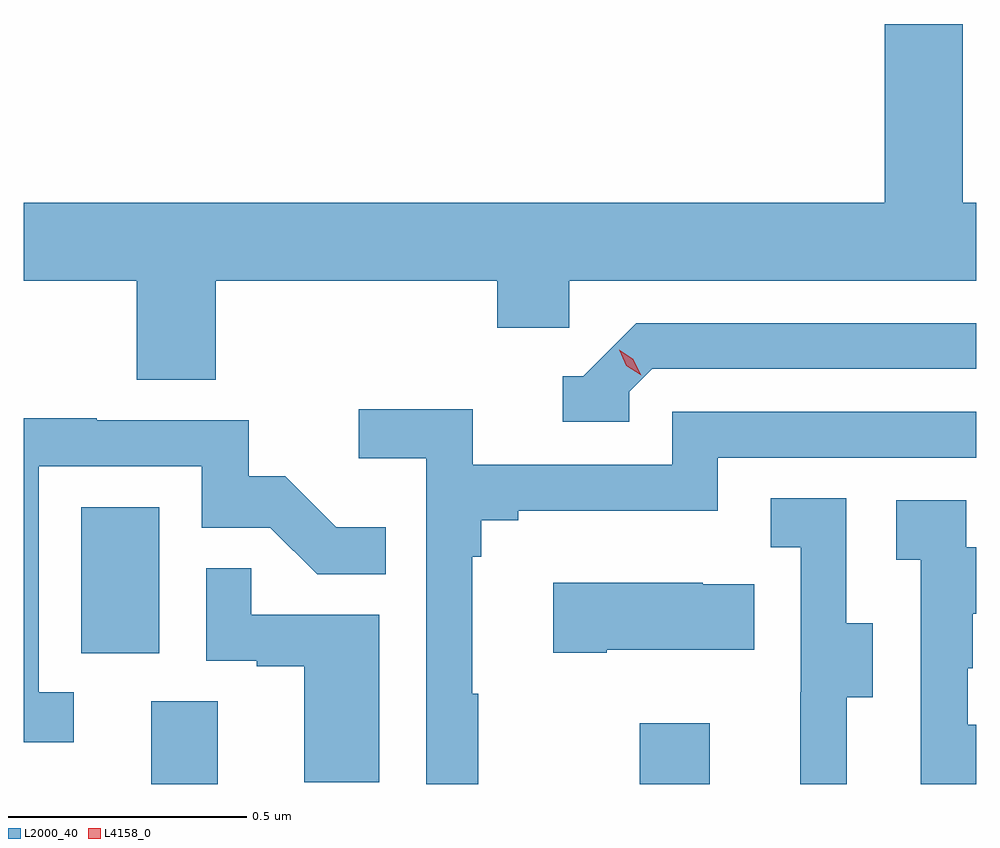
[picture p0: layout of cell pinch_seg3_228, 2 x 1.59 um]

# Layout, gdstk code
import gdstk
lib = gdstk.Library(unit=1e-6, precision=1e-09)
def R(c, l, rs):  # rectangles x0, y0, x1, y1
    for r in rs: c.add(gdstk.rectangle(r[:2], r[2:], *l))
def P(c, l, *ps):  # polygons
    for p in ps: c.add(gdstk.Polygon(p, *l))
L2000_40 = (2000, 40)
L4158_0 = (4158, 0)

pinch_seg3_228 = lib.new_cell('pinch_seg3_228')
R(pinch_seg3_228, L2000_40, [(930.701,729.164,930.841,729.338), (931.726,729.164,931.873,729.292), (930.554,729.438,930.718,729.745)])
P(pinch_seg3_228, L2000_40, [(930.433,730.22),(930.671,730.22),(930.671,730.012),(930.836,730.012),(930.836,730.22),(931.427,730.22),(931.427,730.122),(931.578,730.122),(931.578,730.22),(932.433,730.22),(932.433,730.384),(932.404,730.384),(932.404,730.759),(932.24,730.759),(932.24,730.384),(930.433,730.384)],
  [(931.704,729.987),(931.752,730.035),(932.433,730.035),(932.433,730.131),(931.719,730.131),(931.608,730.02),(931.565,730.02),(931.565,729.924),(931.704,729.924)],
  [(931.387,729.353),(931.375,729.353),(931.375,729.641),(931.394,729.641),(931.394,729.718),(931.471,729.718),(931.471,729.737),(931.89,729.737),(931.89,729.849),(932.433,729.849),(932.433,729.945),(931.794,729.945),(931.794,729.834),(931.376,729.834),(931.376,729.95),(931.137,729.95),(931.137,729.848),(931.278,729.848),(931.278,729.164),(931.387,729.164)],
  [(930.538,729.357),(930.465,729.357),(930.465,729.831),(930.807,729.831),(930.807,729.702),(930.951,729.702),(931.049,729.604),(931.193,729.604),(931.193,729.703),(931.089,729.703),(930.982,729.81),(930.906,729.81),(930.906,729.927),(930.587,729.927),(930.587,729.932),(930.433,729.932),(930.433,729.252),(930.538,729.252)],
  [(932.161,729.346),(932.215,729.346),(932.215,729.501),(932.16,729.501),(932.16,729.764),(932.001,729.764),(932.001,729.661),(932.064,729.661),(932.064,729.357),(932.063,729.357),(932.063,729.164),(932.161,729.164)],
  [(932.433,729.288),(932.415,729.288),(932.415,729.407),(932.425,729.407),(932.425,729.521),(932.433,729.521),(932.433,729.661),(932.412,729.661),(932.412,729.759),(932.265,729.759),(932.265,729.635),(932.316,729.635),(932.316,729.164),(932.433,729.164)],
  [(931.18,729.519),(930.911,729.519),(930.911,729.617),(930.816,729.617),(930.816,729.423),(930.923,729.423),(930.923,729.411),(931.022,729.411),(931.022,729.168),(931.18,729.168)],
  [(931.657,729.446),(931.967,729.446),(931.967,729.583),(931.859,729.583),(931.859,729.586),(931.545,729.586),(931.545,729.439),(931.657,729.439)])
P(pinch_seg3_228, L4158_0, [(931.729,730.022),(931.698,730.042),(931.683,730.075),(931.683,730.075),(931.683,730.075),(931.713,730.055),(931.729,730.022),(931.729,730.022)])

lib.write_gds('pinch_seg3_228.gds')
